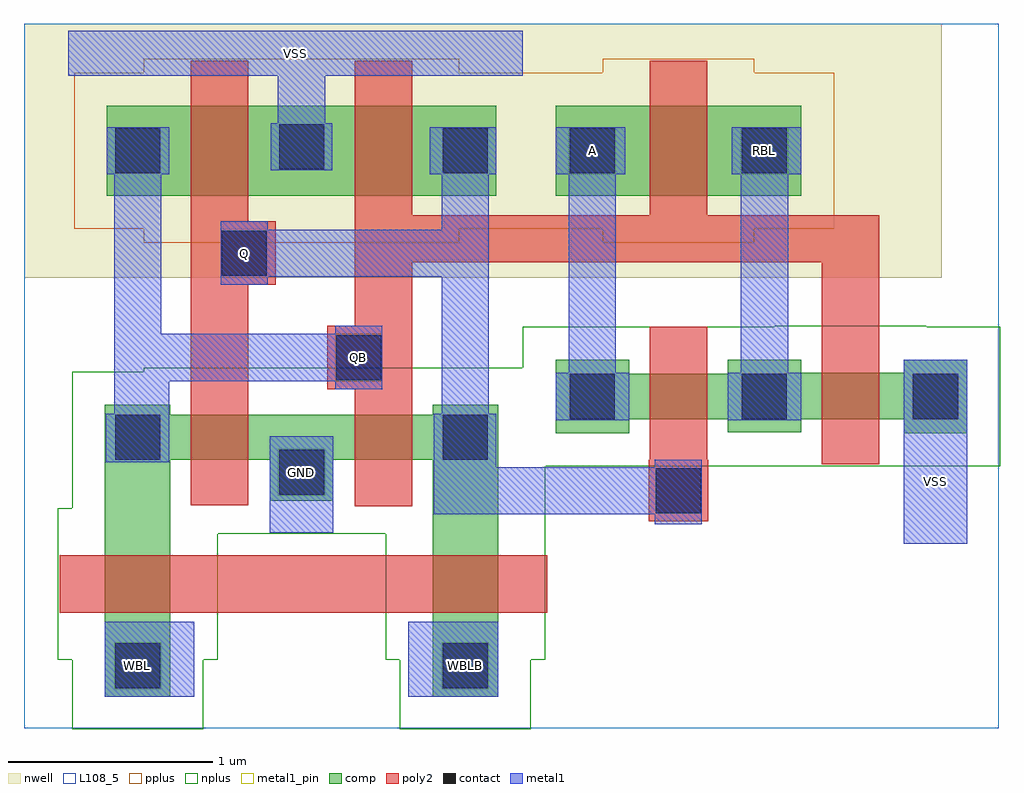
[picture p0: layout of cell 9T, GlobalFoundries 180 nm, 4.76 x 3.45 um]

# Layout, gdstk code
import gdstk
lib = gdstk.Library(unit=1e-6, precision=1e-09)
def R(c, l, rs):  # rectangles x0, y0, x1, y1
    for r in rs: c.add(gdstk.rectangle(r[:2], r[2:], *l))
nwell = (21, 0)
comp = (22, 0)
poly2 = (30, 0)
pplus = (31, 0)
nplus = (32, 0)
contact = (33, 0)
metal1 = (34, 0)
metal1_pin = (34, 10)
L108_5 = (108, 5)

c_9t = lib.new_cell('9T')
R(c_9t, nwell, [(-0.5,-0.39,3.98,0.85)])
R(c_9t, comp, [(-0.105,-2.435,0.215,-1.28), (1.495,-2.435,1.815,-1.28), (0.7,-1.48,1.01,-1.28), (-0.105,-1.28,1.815,-1.06), (2.095,-1.15,2.455,-1.08), (3.795,-1.15,4.105,-1.08), (2.935,-1.145,3.295,-1.08), (2.095,-1.08,4.105,-0.86), (-0.105,-1.06,0.215,-1.01), (1.495,-1.06,1.815,-1.01), (2.095,-0.86,2.455,-0.79), (2.935,-0.86,4.105,-0.855), (2.935,-0.855,3.295,-0.79), (3.795,-0.855,4.105,-0.79), (-0.095,0.01,1.805,0.45), (2.095,0.01,3.295,0.45)])
R(c_9t, poly2, [(-0.325,-2.025,2.055,-1.745), (2.55,-1.58,2.84,-1.28), (1.115,-1.505,1.395,-0.935), (0.315,-1.5,0.595,-0.425), (3.395,-1.3,3.675,-0.315), (2.555,-1.28,2.835,-0.63), (0.98,-0.935,1.395,-0.625), (1.115,-0.625,1.395,-0.315), (0.315,-0.425,0.73,-0.115), (1.115,-0.315,3.675,-0.085), (0.315,-0.115,0.595,0.67), (1.115,-0.085,1.395,0.67), (2.555,-0.085,2.835,0.67)])
R(c_9t, pplus, [(0.085,-0.22,1.625,-0.15), (2.325,-0.22,3.065,-0.15), (-0.255,-0.15,3.455,0.61), (0.085,0.61,1.625,0.68), (2.325,0.61,3.065,0.68)])
R(c_9t, nplus, [(-0.265,-2.595,0.375,-2.255), (1.335,-2.595,1.975,-2.255), (-0.335,-2.255,0.445,-1.64), (1.265,-2.255,2.045,-1.64), (-0.335,-1.64,2.045,-1.515), (-0.265,-1.515,2.045,-1.31), (-0.265,-1.31,4.265,-0.85), (0.085,-0.85,4.265,-0.83), (1.935,-0.83,4.265,-0.63), (3.165,-0.63,3.905,-0.625)])
R(c_9t, contact, [(-0.055,-2.395,0.165,-2.175), (1.545,-2.395,1.765,-2.175), (2.585,-1.54,2.805,-1.32), (0.745,-1.45,0.965,-1.23), (-0.055,-1.28,0.165,-1.06), (1.545,-1.28,1.765,-1.06), (2.165,-1.08,2.385,-0.86), (3.005,-1.08,3.225,-0.86), (3.84,-1.08,4.06,-0.86), (1.025,-0.89,1.245,-0.67), (0.465,-0.38,0.685,-0.16), (-0.055,0.12,0.165,0.34), (1.545,0.12,1.765,0.34), (2.165,0.12,2.385,0.34), (3.005,0.12,3.225,0.34), (0.745,0.14,0.965,0.36)])
R(c_9t, metal1, [(-0.105,-2.435,0.33,-2.07), (1.375,-2.435,1.815,-2.07), (3.795,-1.69,4.105,-0.79), (0.7,-1.635,1.01,-1.165), (2.58,-1.595,2.81,-1.545), (1.5,-1.545,2.81,-1.315), (1.5,-1.315,1.805,-1.055), (2.58,-1.315,2.81,-1.28), (-0.1,-1.29,0.21,-1.055), (2.095,-1.085,2.455,-0.855), (2.935,-1.085,3.295,-0.855), (-0.06,-1.055,0.21,-0.895), (1.54,-1.055,1.77,-0.385), (1.02,-0.935,1.25,-0.895), (-0.06,-0.895,1.25,-0.665), (2.16,-0.855,2.39,0.115), (3,-0.855,3.23,0.115), (-0.06,-0.665,0.17,0.115), (1.02,-0.665,1.25,-0.625), (0.46,-0.425,0.69,-0.385), (0.46,-0.385,1.77,-0.155), (0.46,-0.155,0.69,-0.115), (1.54,-0.155,1.77,0.115), (-0.095,0.115,0.21,0.345), (1.48,0.115,1.805,0.345), (2.095,0.115,2.435,0.345), (2.955,0.115,3.295,0.345), (0.705,0.135,1.005,0.365), (0.74,0.365,0.97,0.595), (-0.285,0.595,1.935,0.815)])
R(c_9t, metal1_pin, [(-0.06,-2.4,0.17,-2.17), (1.54,-2.4,1.77,-2.17), (0.74,-1.455,0.97,-1.225), (1.02,-0.895,1.25,-0.665), (2.16,0.115,2.39,0.345), (3,0.115,3.23,0.345)])
R(c_9t, L108_5, [(-0.5,-2.59,4.26,0.85)])
c_9t.add(gdstk.Label('WBL', (0.055,-2.285), layer=22, texttype=0))
c_9t.add(gdstk.Label('WBLB', (1.655,-2.285), layer=22, texttype=0))
c_9t.add(gdstk.Label('A', (2.275,0.23), layer=22, texttype=0))
c_9t.add(gdstk.Label('RBL', (3.115,0.23), layer=22, texttype=0))
c_9t.add(gdstk.Label('GND', (0.855,-1.34), layer=22, texttype=0))
c_9t.add(gdstk.Label('VSS', (3.95,-1.387), layer=34, texttype=0))
c_9t.add(gdstk.Label('Q', (0.575,-0.27), layer=30, texttype=10))
c_9t.add(gdstk.Label('QB', (1.135,-0.78), layer=30, texttype=10))
c_9t.add(gdstk.Label('VSS', (0.825,0.705), layer=34, texttype=10))

lib.write_gds('9T.gds')
